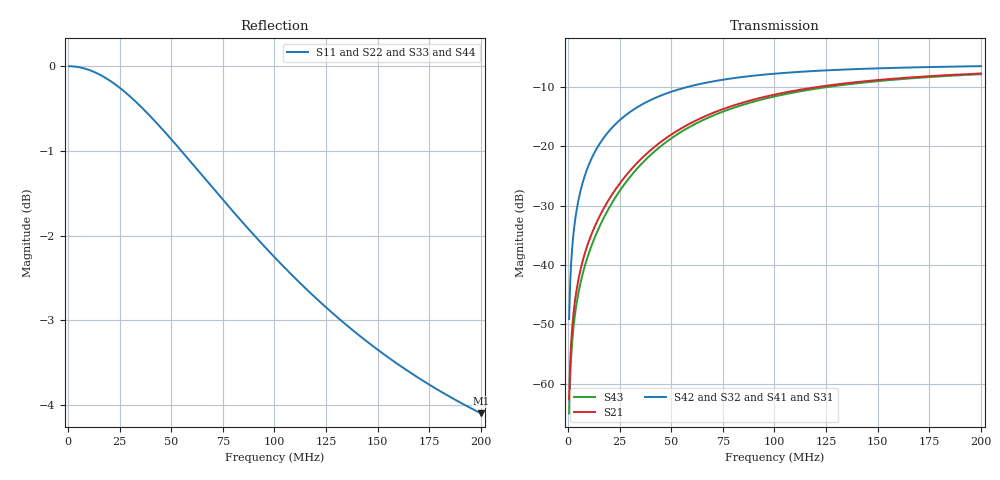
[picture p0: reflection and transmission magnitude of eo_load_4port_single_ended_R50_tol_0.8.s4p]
! Created with skrf 2.0.1 (http://scikit-rf.org).
# Hz S RI R 50.0
!freq ReS11 ImS11 ReS12 ImS12 ReS13 ImS13
! ReS14 ImS14
! ReS21 ImS21 ReS22 ImS22 ReS23 ImS23
! ReS24 ImS24
! ReS31 ImS31 ReS32 ImS32 ReS33 ImS33
! ReS34 ImS34
! ReS41 ImS41 ReS42 ImS42 ReS43 ImS43
! ReS44 ImS44
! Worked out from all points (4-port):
!   400 points, 500 kHz to 200 MHz, reference 50 ohm
!   strongest paths, dB at 500 kHz, 50.5 MHz, 100.5 MHz, 150.5 MHz, 200 MHz:
!     S42: -49.1, -10.8, -7.8, -6.9, -6.5
!     S32: -49.1, -10.8, -7.8, -6.9, -6.5
!     S41: -49.1, -10.8, -7.8, -6.9, -6.5
!     S31: -49.1, -10.8, -7.8, -6.9, -6.5
!     S21: -62.6, -17.9, -11.3, -8.9, -7.8
!     S43: -65.0, -18.6, -11.6, -9.0, -7.9
!   lowest |S11| = -4.1 dB at 200 MHz (marker M1), VSWR 4.32, Z = 17.3 - j33.8 ohm
!   |S11| at or under -10 dB: nowhere
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500000  1 -0.00774  -6.54e-06 0.00074  2.45e-05 0.0035  2.45e-05 0.0035
        -6.54e-06 0.00074  1 -0.00774  2.45e-05 0.0035  2.45e-05 0.0035
        2.45e-05 0.0035  2.45e-05 0.0035  1 -0.00757  -8e-06 0.000564
        2.45e-05 0.0035  2.45e-05 0.0035  -8e-06 0.000564  1 -0.00757
1500000  0.9996 -0.0232  -5.88e-05 0.00222  0.000221 0.0105  0.000221 0.0105
         -5.88e-05 0.00222  0.9996 -0.0232  0.000221 0.0105  0.000221 0.0105
         0.000221 0.0105  0.000221 0.0105  0.9996 -0.0227  -7.19e-05 0.00169
         0.000221 0.0105  0.000221 0.0105  -7.19e-05 0.00169  0.9996 -0.0227
3000000  0.9985 -0.0464  -0.000234 0.00446  0.000882 0.021  0.000882 0.021
         -0.000234 0.00446  0.9985 -0.0464  0.000882 0.021  0.000882 0.021
         0.000882 0.021  0.000882 0.021  0.9985 -0.0454  -0.000287 0.0034
         0.000882 0.021  0.000882 0.021  -0.000287 0.0034  0.9985 -0.0454
1e7  0.9832 -0.1529  -0.00248 0.0155  0.00963 0.0687  0.00963 0.0687
     -0.00248 0.0155  0.9832 -0.1529  0.00963 0.0687  0.00963 0.0687
     0.00963 0.0687  0.00963 0.0687  0.9838 -0.1495  -0.00306 0.0121
     0.00963 0.0687  0.00963 0.0687  -0.00306 0.0121  0.9838 -0.1495
4.4e7  0.74 -0.551  -0.0154 0.1043  0.1377 0.2234  0.1377 0.2234
       -0.0154 0.1043  0.74 -0.551  0.1377 0.2234  0.1377 0.2234
       0.1377 0.2234  0.1377 0.2234  0.7488 -0.5406  -0.0242 0.0939
       0.1377 0.2234  0.1377 0.2234  -0.0242 0.0939  0.7488 -0.5406
9.95e7  0.2537 -0.7297  0.086 0.2561  0.3301 0.2368  0.3301 0.2368
        0.086 0.2561  0.2537 -0.7297  0.3301 0.2368  0.3301 0.2368
        0.3301 0.2368  0.3301 0.2368  0.2742 -0.7258  0.0656 0.2522
        0.3301 0.2368  0.3301 0.2368  0.0656 0.2522  0.2742 -0.7258
2e8  -0.1858 -0.5957  0.2987 0.2791  0.4435 0.1583  0.4435 0.1583
     0.2987 0.2791  -0.1858 -0.5957  0.4435 0.1583  0.4435 0.1583
     0.4435 0.1583  0.4435 0.1583  -0.1692 -0.6044  0.2822 0.2879
     0.4435 0.1583  0.4435 0.1583  0.2822 0.2879  -0.1692 -0.6044
